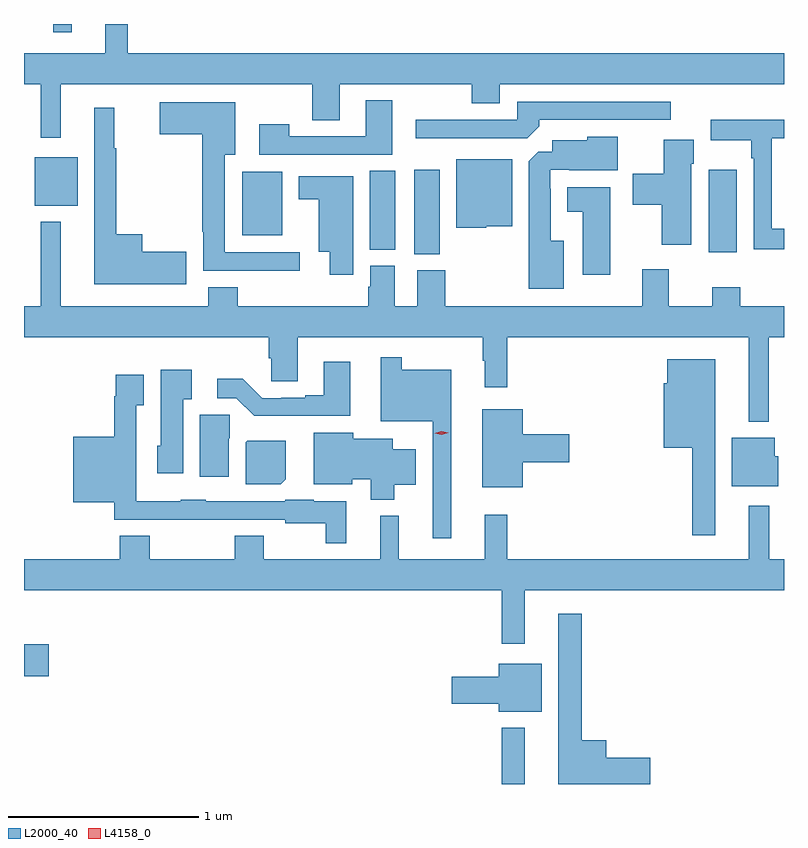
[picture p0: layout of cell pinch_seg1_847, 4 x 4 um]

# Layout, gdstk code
import gdstk
lib = gdstk.Library(unit=1e-6, precision=1e-09)
def R(c, l, rs):  # rectangles x0, y0, x1, y1
    for r in rs: c.add(gdstk.rectangle(r[:2], r[2:], *l))
def P(c, l, *ps):  # polygons
    for p in ps: c.add(gdstk.Polygon(p, *l))
L2000_40 = (2000, 40)
L4158_0 = (4158, 0)

pinch_seg1_847 = lib.new_cell('pinch_seg1_847')
R(pinch_seg1_847, L2000_40, [(484.836,514.749,484.957,515.044), (482.322,515.315,482.452,515.485), (484.376,517.537,484.51,517.981), (485.927,517.547,486.073,517.981), (484.142,517.561,484.276,517.976), (483.47,517.637,483.682,517.972), (482.378,517.793,482.605,518.047), (482.475,518.706,482.572,518.749)])
P(pinch_seg1_847, L2000_40, [(482.515,518.432),(483.838,518.432),(483.838,518.242),(483.985,518.242),(483.985,518.432),(484.678,518.432),(484.678,518.333),(484.825,518.333),(484.825,518.432),(486.322,518.432),(486.322,518.596),(482.867,518.596),(482.867,518.749),(482.75,518.749),(482.75,518.596),(482.322,518.596),(482.322,518.432),(482.411,518.432),(482.411,518.151),(482.515,518.151)],
  [(484.261,518.347),(484.121,518.347),(484.121,518.157),(483.717,518.157),(483.717,518.221),(483.561,518.221),(483.561,518.061),(484.261,518.061)],
  [(485.033,518.21),(485.033,518.244),(485.725,518.244),(485.725,518.34),(484.917,518.34),(484.917,518.244),(484.383,518.244),(484.383,518.148),(484.971,518.148)],
  [(483.772,517.548),(483.379,517.548),(483.379,518.06),(483.433,518.06),(483.433,518.338),(483.036,518.338),(483.036,518.168),(483.259,518.168),(483.259,517.655),(483.266,517.655),(483.266,517.451),(483.772,517.451)],
  [(483.175,517.55),(482.944,517.55),(482.944,517.642),(482.807,517.642),(482.807,518.095),(482.797,518.095),(482.797,518.308),(482.693,518.308),(482.693,517.379),(483.175,517.379)],
  [(486.322,517.671),(486.258,517.671),(486.258,518.148),(486.322,518.148),(486.322,518.246),(485.937,518.246),(485.937,518.138),(486.15,518.138),(486.15,518.042),(486.162,518.042),(486.162,517.563),(486.322,517.563)],
  [(485.164,517.609),(485.095,517.609),(485.095,517.883),(485.091,517.883),(485.091,517.983),(485.191,517.983),(485.191,517.979),(485.446,517.979),(485.446,518.155),(485.286,518.155),(485.286,518.137),(485.102,518.137),(485.102,518.076),(485.028,518.076),(484.979,518.027),(484.979,517.355),(485.164,517.355)],
  [(485.833,518.013),(485.848,518.013),(485.848,518.14),(485.69,518.14),(485.69,517.96),(485.526,517.96),(485.526,517.798),(485.678,517.798),(485.678,517.587),(485.833,517.587)],
  [(484.755,517.685),(484.891,517.685),(484.891,518.038),(484.598,518.038),(484.598,517.676),(484.755,517.676)],
  [(484.054,517.948),(483.767,517.948),(483.767,517.826),(483.872,517.826),(483.872,517.55),(483.932,517.55),(483.932,517.428),(484.054,517.428)],
  [(485.407,517.891),(485.18,517.891),(485.18,517.76),(485.264,517.76),(485.264,517.428),(485.407,517.428)],
  [(486.241,517.1),(486.322,517.1),(486.322,517.264),(486.093,517.264),(486.093,517.363),(485.945,517.363),(485.945,517.264),(485.716,517.264),(485.716,517.459),(485.576,517.459),(485.576,517.264),(484.539,517.264),(484.539,517.452),(484.391,517.452),(484.391,517.264),(484.273,517.264),(484.273,517.476),(484.145,517.476),(484.145,517.365),(484.133,517.365),(484.133,517.264),(483.446,517.264),(483.446,517.363),(483.293,517.363),(483.293,517.264),(482.515,517.264),(482.515,517.708),(482.411,517.708),(482.411,517.264),(482.322,517.264),(482.322,517.1),(483.611,517.1),(483.611,516.99),(483.624,516.99),(483.624,516.868),(483.763,516.868),(483.763,517.1),(484.737,517.1),(484.737,516.977),(484.748,516.977),(484.748,516.837),(484.865,516.837),(484.865,517.1),(486.137,517.1),(486.137,516.656),(486.241,516.656)],
  [(484.57,516.928),(484.309,516.928),(484.309,516.994),(484.2,516.994),(484.2,516.659),(484.473,516.659),(484.473,516.042),(484.57,516.042)],
  [(485.959,516.985),(485.708,516.985),(485.708,516.858),(485.69,516.858),(485.69,516.518),(485.838,516.518),(485.838,516.057),(485.959,516.057)],
  [(484.039,516.972),(483.899,516.972),(483.899,516.796),(483.803,516.796),(483.803,516.783),(483.676,516.783),(483.676,516.78),(483.576,516.78),(483.474,516.883),(483.339,516.883),(483.339,516.78),(483.438,516.78),(483.533,516.686),(484.039,516.686)],
  [(483.16,516.774),(483.205,516.774),(483.205,516.928),(483.041,516.928),(483.041,516.528),(483.023,516.528),(483.023,516.384),(483.16,516.384)],
  [(484.019,516.238),(483.846,516.238),(483.846,516.244),(483.696,516.244),(483.696,516.237),(483.279,516.237),(483.279,516.244),(483.147,516.244),(483.147,516.238),(482.913,516.238),(482.913,516.743),(482.953,516.743),(482.953,516.904),(482.805,516.904),(482.805,516.791),(482.797,516.791),(482.797,516.577),(482.582,516.577),(482.582,516.233),(482.797,516.233),(482.797,516.141),(483.047,516.141),(483.047,516.14),(483.279,516.14),(483.279,516.141),(483.696,516.141),(483.696,516.122),(483.909,516.122),(483.909,516.017),(484.019,516.017)],
  [(484.948,516.443),(485.191,516.443),(485.191,516.59),(484.948,516.59),(484.948,516.721),(484.733,516.721),(484.733,516.311),(484.948,516.311)],
  [(483.4,516.57),(483.404,516.57),(483.404,516.693),(483.248,516.693),(483.248,516.366),(483.4,516.366)],
  [(484.27,516.323),(484.384,516.323),(484.384,516.511),(484.264,516.511),(484.264,516.565),(484.054,516.565),(484.054,516.598),(483.848,516.598),(483.848,516.326),(484.05,516.326),(484.05,516.353),(484.148,516.353),(484.148,516.245),(484.27,516.245)],
  [(486.292,516.474),(486.274,516.474),(486.274,516.571),(486.047,516.571),(486.047,516.317),(486.292,516.317)],
  [(483.7,516.352),(483.7,516.556),(483.496,516.556),(483.488,516.548),(483.488,516.326),(483.674,516.326)],
  [(484.957,515.768),(486.322,515.768),(486.322,515.932),(486.244,515.932),(486.244,516.214),(486.137,516.214),(486.137,515.932),(484.865,515.932),(484.865,516.166),(484.748,516.166),(484.748,515.932),(484.295,515.932),(484.295,516.16),(484.196,516.16),(484.196,515.932),(483.585,515.932),(483.585,516.056),(483.43,516.056),(483.43,515.932),(482.985,515.932),(482.985,516.056),(482.825,516.056),(482.825,515.932),(482.322,515.932),(482.322,515.768),(484.836,515.768),(484.836,515.487),(484.957,515.487)],
  [(485.617,514.886),(485.386,514.886),(485.386,514.978),(485.257,514.978),(485.257,515.644),(485.135,515.644),(485.135,514.749),(485.617,514.749)],
  [(485.047,515.383),(484.82,515.383),(484.82,515.313),(484.572,515.313),(484.572,515.171),(484.82,515.171),(484.82,515.129),(485.047,515.129)])
P(pinch_seg1_847, L4158_0, [(484.52,516.586),(484.484,516.595),(484.484,516.595),(484.484,516.595),(484.519,516.606),(484.555,516.598),(484.555,516.598),(484.555,516.597)])

lib.write_gds('pinch_seg1_847.gds')
